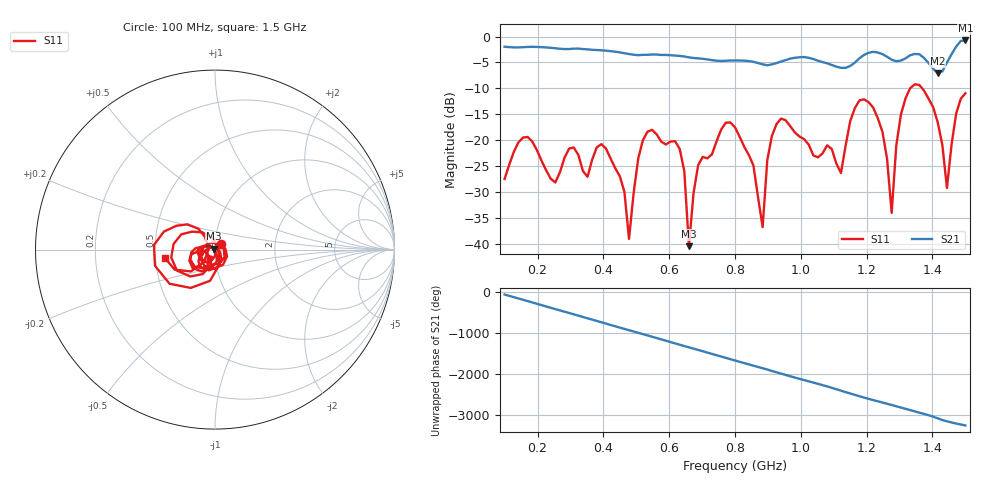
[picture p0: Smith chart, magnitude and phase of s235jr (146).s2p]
! NanoVNA-App
! Date: 2025-09-25 15:05:18
! Start: 100MHz Stop: 1,5GHz Points: 101
! S-Parameter data: F S11 S21 S12 S22
# Hz S RI R 50
!  Frequency  S11_Real  S11_Imag  S21_Real  S21_Imag  S12_Real  S12_Imag  S22_Real  S22_Imag
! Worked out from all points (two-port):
!   101 points, 100 MHz to 1.5 GHz, reference 50 ohm
!   highest |S21| = -0.75 dB at 1.5 GHz (marker M1); lowest = -7.1 dB at 1.416 GHz (marker M2)
!   |S21| within 3 dB of the highest: start of sweep to 633.4 MHz; 1.188 GHz to 1.258 GHz (70.35 MHz wide, 5.75 % of centre) (the widest 2 of 4)
!   lowest |S11| = -40.5 dB at 660 MHz (marker M3), VSWR 1.02, Z = 49.2 + j0.556 ohm
!   |S11| at or under -10 dB: start of sweep to 1.332 GHz; 1.369 GHz to end of sweep
!   S12 and S22 are empty: the file has one direction only
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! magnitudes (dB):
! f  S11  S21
! 100 MHz  -27.5  -2.0
! 170 MHz  -19.4  -2.0
! 338 MHz  -26.0  -2.4
! 408 MHz  -21.6  -2.7
! 478 MHz  -39.1  -3.4
! 520 MHz  -20.0  -3.5
! 576 MHz  -20.3  -3.5
! 632 MHz  -21.7  -3.7
! 660 MHz  -40.5  -4.0
! 688 MHz  -24.8  -4.2
! 800 MHz  -17.5  -4.6
! 884 MHz  -36.8  -5.4
! 926 MHz  -16.9  -5.1
! 1.038 GHz  -22.9  -4.3
! 1.122 GHz  -26.3  -6.0
! 1.206 GHz  -12.7  -3.1
! 1.248 GHz  -18.4  -3.4
! 1.276 GHz  -34.0  -4.5
! 1.332 GHz  -10.0  -3.6
! 1.416 GHz  -16.6  -7.1
! 1.444 GHz  -29.2  -5.0
! 1.5 GHz  -10.9  -0.7
